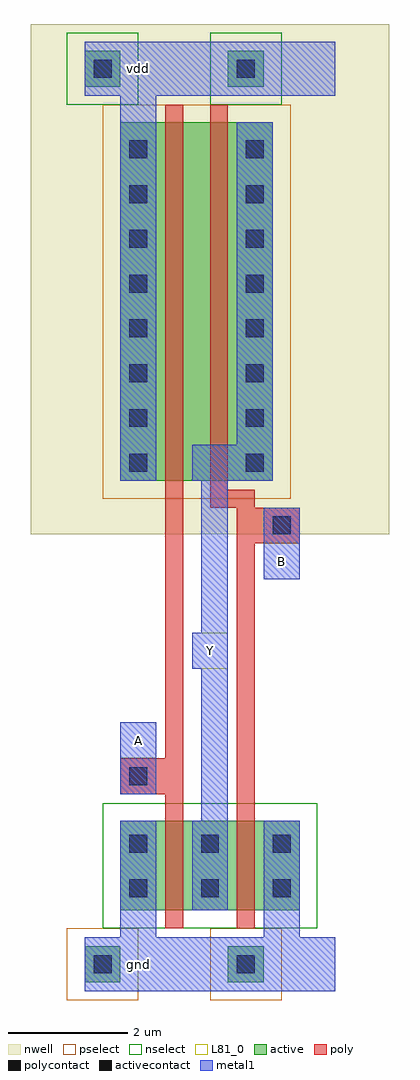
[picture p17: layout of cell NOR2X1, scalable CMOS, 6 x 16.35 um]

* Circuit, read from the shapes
.subckt NOR2X1 A B Y gnd vdd
M1 Y A gnd gnd nfet w=1.5u l=0.3u
M2 gnd B Y gnd nfet w=1.5u l=0.3u
M3 n1 A vdd vdd pfet w=6u l=0.3u
M4 Y B n1 vdd pfet w=6u l=0.3u
.ends

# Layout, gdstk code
import gdstk
lib = gdstk.Library(unit=1e-6, precision=1e-09)
def R(c, l, rs):  # rectangles x0, y0, x1, y1
    for r in rs: c.add(gdstk.rectangle(r[:2], r[2:], *l))
def A(c, l, x, y, w, h, nx, ny, dx, dy):  # array of equal rectangles
    R(c, l, [(x+i*dx, y+j*dy, x+i*dx+w, y+j*dy+h) for i in range(nx) for j in range(ny)])
nwell = (42, 0)
active = (43, 0)
pselect = (44, 0)
nselect = (45, 0)
poly = (46, 0)
polycontact = (47, 0)
activecontact = (48, 0)
metal1 = (49, 0)
L81_0 = (81, 0)

nor2x1 = lib.new_cell('NOR2X1')
R(nor2x1, nwell, [(-1.2,7.2,4.8,15.75)])
R(nor2x1, active, [(-0.3,-0.3,0.3,0.3), (2.1,-0.3,2.7,0.3), (0.3,0.9,3.3,2.4), (0.3,8.1,2.85,14.1), (-0.3,14.7,0.3,15.3), (2.1,14.7,2.7,15.3)])
R(nor2x1, pselect, [(-0.6,-0.6,0.6,0.6), (1.8,-0.6,3,0.6), (0,7.8,3.15,14.4)])
R(nor2x1, nselect, [(0,0.6,3.6,2.7), (-0.6,14.4,0.6,15.6), (1.8,14.4,3,15.6)])
R(nor2x1, poly, [(1.05,0.6,1.35,2.85), (2.25,0.6,2.55,7.05), (0.3,2.85,1.35,3.45), (1.05,3.45,1.35,14.4), (2.25,7.05,3.3,7.65), (1.8,7.65,2.55,7.95), (1.8,7.95,2.1,14.4)])
R(nor2x1, polycontact, [(0.45,3,0.75,3.3), (2.85,7.2,3.15,7.5)])
A(nor2x1, activecontact, 0.45, 1.12, 0.3, 0.3, 3, 2, 1.2, 0.75)
A(nor2x1, activecontact, 0.45, 8.25, 0.3, 0.3, 1, 8, 0, 0.75)
A(nor2x1, activecontact, 2.4, 8.25, 0.3, 0.3, 1, 8, 0, 0.75)
R(nor2x1, activecontact, [(-0.15,-0.15,0.15,0.15), (2.25,-0.15,2.55,0.15), (-0.15,14.85,0.15,15.15), (2.25,14.85,2.55,15.15)])
R(nor2x1, metal1, [(-0.3,-0.45,3.9,0.45), (0.3,0.45,0.9,2.4), (2.7,0.45,3.3,2.4), (1.5,0.9,2.1,2.4), (1.65,2.4,2.1,4.95), (0.3,2.85,0.9,4.05), (1.5,4.95,2.1,5.55), (1.65,5.55,2.1,8.1), (2.7,6.45,3.3,7.65), (0.3,8.1,0.9,14.55), (1.5,8.1,2.85,8.7), (2.25,8.7,2.85,14.1), (-0.3,14.55,3.9,15.45)])
R(nor2x1, L81_0, [(0.3,3.45,0.9,4.05), (1.5,4.95,2.1,5.55), (2.7,6.45,3.3,7.05)])
nor2x1.add(gdstk.Label('vdd', (0.6,15), layer=109, texttype=0))
nor2x1.add(gdstk.Label('B', (3,6.75), layer=109, texttype=0))
nor2x1.add(gdstk.Label('gnd', (0.6,0), layer=109, texttype=0))
nor2x1.add(gdstk.Label('Y', (1.8,5.25), layer=109, texttype=0))
nor2x1.add(gdstk.Label('A', (0.6,3.75), layer=109, texttype=0))

lib.write_gds('NOR2X1.gds')
